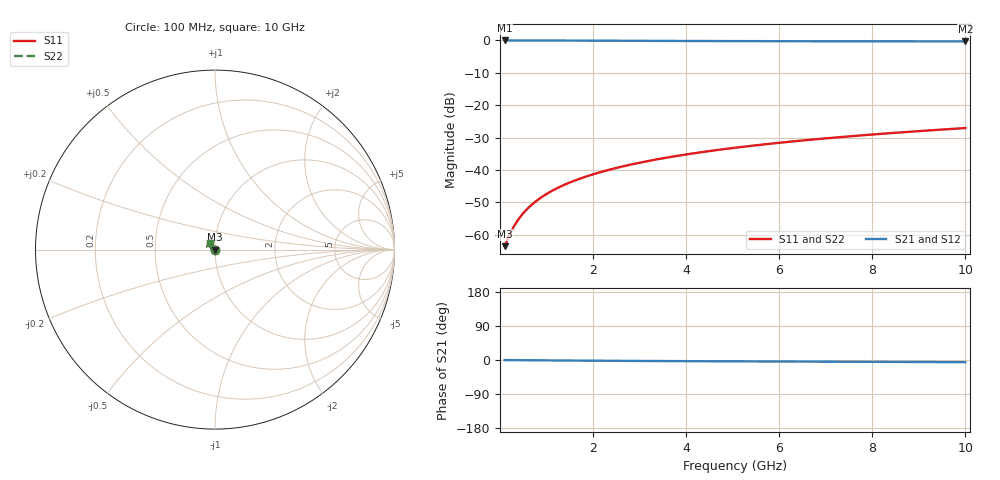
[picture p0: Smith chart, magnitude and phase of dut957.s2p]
! Touchstone file exported from HFSS 2024.1.0
!  File:  C:/UserFiles/LocalFiles/RDL_TSV_Batchsim/temp_TSV1_957_1779949719.aedt
!  Generated:  02:37:04 PM May 28, 2026
!  Design:  TSV1
!  Project:  temp_TSV1_957_1779949719
!  Setup:  Setup1
!  Solution:  Sweep
! Variables:
!  dtsv = 5.16um
!  hbump = 3um
!  htsv = 79.73um
!  lrdl = 252.1521522um
!  p = 40
!  p1 = 57.62um
!  t = 500um
!  trdl = 3um
!  wrdl = 24.89489489um
# GHz S MA R 50.000000
! Terminal data exported
! Port[1] = TSV22_T1
! Port[2] = TSV22_T2
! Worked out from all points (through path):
!   100 points, 100 MHz to 10 GHz, reference 50 ohm
!   highest |S21| = 0.00 dB at 100 MHz (marker M1); lowest = -0.3 dB at 10 GHz (marker M2)
!   lowest |S11| = -63.6 dB at 100 MHz (marker M3), VSWR 1.00, Z = 50 - j0.044 ohm
!   |S11| at or under -10 dB: start of sweep to end of sweep
!   |S22| runs from -63.6 to -27.1 dB; largest |S21 - S12| = 8.2e-15
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0.1  0.0006626 -41.6  0.9995 -0.1  0.9995 -0.1  0.0006626 -41.6
! Gamma 0 0 0 0
! Port Impedance 50 0 50 0
0.2  0.0009736 -64.2  0.9994 -0.2  0.9994 -0.2  0.0009736 -64.2
0.3  0.001343 -76.8  0.9993 -0.3  0.9993 -0.3  0.001343 -76.8
0.4  0.001736 -85.3  0.9991 -0.4  0.9991 -0.4  0.001736 -85.3
0.5  0.002142 -91.7  0.9989 -0.5  0.9989 -0.5  0.002142 -91.7
0.6  0.002554 -97.0  0.9986 -0.6  0.9986 -0.6  0.002554 -97.0
0.7  0.002972 -101.6  0.9983 -0.7  0.9983 -0.7  0.002972 -101.6
0.9  0.003815 -109.6  0.9976 -0.9  0.9976 -0.9  0.003815 -109.6
1  0.004239 -113.2  0.9972 -1.0  0.9972 -1.0  0.004239 -113.2
1.2  0.005092 -119.9  0.9963 -1.2  0.9963 -1.2  0.005092 -119.9
1.5  0.006378 -129.1  0.9948 -1.4  0.9948 -1.4  0.006378 -129.1
1.8  0.007671 -137.4  0.9931 -1.7  0.9931 -1.7  0.007671 -137.4
2.1  0.008969 -145.2  0.9914 -1.9  0.9914 -1.9  0.008969 -145.2
2.5  0.01071 -154.6  0.989 -2.2  0.989 -2.2  0.01071 -154.6
2.9  0.01246 -163.1  0.9866 -2.5  0.9866 -2.5  0.01246 -163.1
3.4  0.01465 -172.5  0.9838 -2.8  0.9838 -2.8  0.01465 -172.5
4.2  0.01819 174.7  0.9798 -3.2  0.9798 -3.2  0.01819 174.7
5.1  0.02218 163.2  0.9761 -3.6  0.9761 -3.6  0.02218 163.2
5.9  0.02575 154.8  0.9735 -4.0  0.9735 -4.0  0.02575 154.8
6.7  0.02933 147.9  0.9713 -4.3  0.9713 -4.3  0.02933 147.9
8.4  0.03698 136.5  0.9677 -5.0  0.9677 -5.0  0.03699 136.5
10  0.04425 128.6  0.9652 -5.7  0.9652 -5.7  0.04425 128.6
